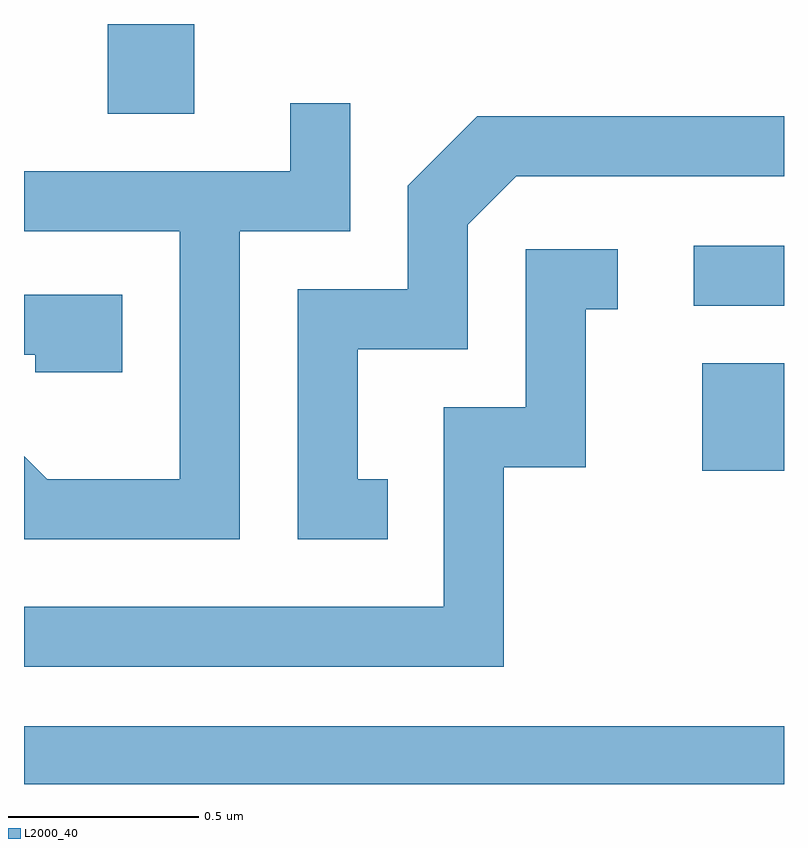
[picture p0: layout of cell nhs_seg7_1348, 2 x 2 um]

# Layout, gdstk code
import gdstk
lib = gdstk.Library(unit=1e-6, precision=1e-09)
def R(c, l, rs):  # rectangles x0, y0, x1, y1
    for r in rs: c.add(gdstk.rectangle(r[:2], r[2:], *l))
def P(c, l, *ps):  # polygons
    for p in ps: c.add(gdstk.Polygon(p, *l))
L2000_40 = (2000, 40)

nhs_seg7_1348 = lib.new_cell('nhs_seg7_1348')
R(nhs_seg7_1348, L2000_40, [(194.611,1783.252,196.611,1783.404), (196.396,1784.076,196.611,1784.359), (196.373,1784.511,196.611,1784.669), (194.831,1785.016,195.059,1785.252)])
P(nhs_seg7_1348, L2000_40, [(195.179,1784.706),(195.469,1784.706),(195.469,1785.043),(195.311,1785.043),(195.311,1784.864),(194.611,1784.864),(194.611,1784.706),(195.021,1784.706),(195.021,1784.054),(194.672,1784.054),(194.611,1784.115),(194.611,1783.896),(195.179,1783.896)],
  [(195.568,1784.054),(195.489,1784.054),(195.489,1784.396),(195.779,1784.396),(195.779,1784.724),(195.907,1784.851),(196.611,1784.851),(196.611,1785.009),(195.804,1785.009),(195.621,1784.827),(195.621,1784.554),(195.331,1784.554),(195.331,1783.896),(195.568,1783.896)],
  [(195.874,1784.086),(196.089,1784.086),(196.089,1784.501),(196.173,1784.501),(196.173,1784.659),(195.931,1784.659),(195.931,1784.244),(195.716,1784.244),(195.716,1783.719),(194.611,1783.719),(194.611,1783.561),(195.874,1783.561)],
  [(194.869,1784.539),(194.611,1784.539),(194.611,1784.381),(194.641,1784.381),(194.641,1784.336),(194.869,1784.336)])

lib.write_gds('nhs_seg7_1348.gds')
